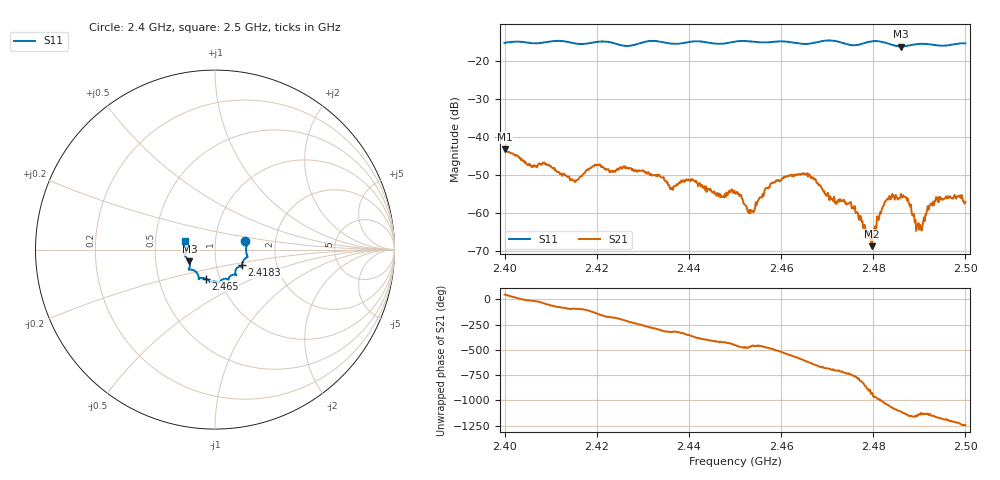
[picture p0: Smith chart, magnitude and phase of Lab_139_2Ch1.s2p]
# Hz S RI R 50
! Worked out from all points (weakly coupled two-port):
!   601 points, 2.4 GHz to 2.5 GHz, reference 50 ohm
!   highest |S21| = -43.19 dB at 2.4 GHz (marker M1); lowest = -68.6 dB at 2.4797 GHz (marker M2)
!   lowest |S11| = -16.1 dB at 2.486 GHz (marker M3), VSWR 1.37, Z = 37.2 - j4.97 ohm
!   |S11| at or under -10 dB: start of sweep to end of sweep
!   S12 and S22 are empty: the file has one direction only
!   S11 on the Smith chart (normalised r, x): 2.4 GHz: 1.40, +0.14; 2.4183 GHz: 1.33, -0.24; 2.465 GHz: 0.86, -0.28; 2.5 GHz: 0.71, +0.07
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2.4e9  0.1689 0.0469  0.00471 0.00508  0 0  0 0
2.414833e9  0.1665 -0.0508  -0.000103 -0.00272  0 0  0 0
2.416667e9  0.1548 -0.0682  -0.000348 -0.00306  0 0  0 0
2.418333e9  0.1502 -0.0871  -0.00158 -0.00355  0 0  0 0
2.433333e9  0.1176 -0.141  0.0015 0.00285  0 0  0 0
2.436167e9  0.0985 -0.1404  0.00171 0.00134  0 0  0 0
2.440333e9  0.0754 -0.1647  0.00264 5.44e-05  0 0  0 0
2.446833e9  0.046 -0.1641  0.000873 -0.00138  0 0  0 0
2.45e9  0.0263 -0.1803  -0.00011 -0.00185  0 0  0 0
2.4535e9  0.0169 -0.182  -0.000354 -0.00105  0 0  0 0
2.458167e9  -0.0181 -0.1796  -0.00163 -0.00197  0 0  0 0
2.465e9  -0.0525 -0.1615  -0.00144 0.00297  0 0  0 0
2.466667e9  -0.0714 -0.1576  0.000246 0.00301  0 0  0 0
2.470833e9  -0.0908 -0.165  0.0014 0.000651  0 0  0 0
2.4755e9  -0.1051 -0.1247  0.00104 -0.000645  0 0  0 0
2.479667e9  -0.146 -0.1114  -0.000324 0.000177  0 0  0 0
2.483333e9  -0.1411 -0.0965  0.00128 0.000822  0 0  0 0
2.486e9  -0.1428 -0.0651  0.00159 -0.000845  0 0  0 0
2.487667e9  -0.1539 -0.0489  0.000454 -0.00133  0 0  0 0
2.489833e9  -0.1656 -0.038  0.000388 -0.000634  0 0  0 0
2.493833e9  -0.1622 -0.0114  0.000115 -0.00152  0 0  0 0
2.5e9  -0.1665 0.0469  -0.00136 -0.000376  0 0  0 0
